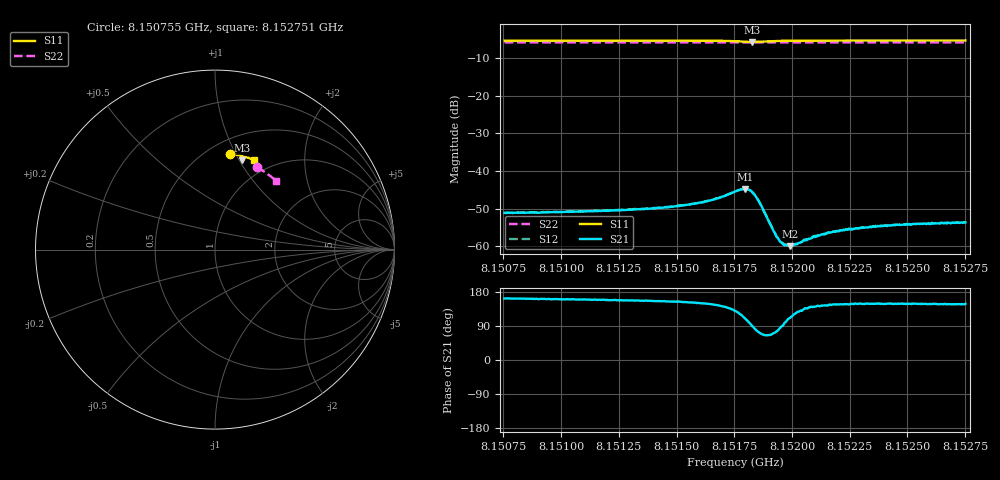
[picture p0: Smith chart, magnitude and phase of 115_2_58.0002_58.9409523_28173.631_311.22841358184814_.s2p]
#  HZ  S  RI  R  50.00
! Rohde & Schwarz Vector Network Analyzer
! Rohde-Schwarz,ZNB20-2Port,1311601062101988,3.16
! Created: UTC 3/21/2024, 12:55:22 AM
! freq[Hz]  re:S11  im:S11  re:S21  im:S21  re:S12  im:S12  re:S22  im:S22
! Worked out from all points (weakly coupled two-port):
!   401 points, 8.150755 GHz to 8.152751 GHz, reference 50 ohm
!   highest |S21| = -44.76 dB at 8.151798 GHz (marker M1); lowest = -60.0 dB at 8.151993 GHz (marker M2)
!   lowest |S11| = -5.7 dB at 8.151828 GHz (marker M3), VSWR 3.17, Z = 37.6 + j51.4 ohm
!   |S11| at or under -10 dB: nowhere
!   |S22| runs from -5.8 to -5.8 dB; largest |S21 - S12| = 0.00013
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8.1507551e9  0.0857 0.5353  -0.00264 0.000843  -0.00264 0.000895  0.235 0.458
8.1510894e9  0.1095 0.5315  -0.00272 0.00102  -0.00271 0.00105  0.2537 0.4475
8.1514237e9  0.1338 0.5262  -0.00294 0.00134  -0.00293 0.00138  0.2721 0.4358
8.1516083e9  0.1486 0.521  -0.0033 0.00192  -0.0033 0.00196  0.2819 0.4292
8.1516832e9  0.1553 0.517  -0.00353 0.00256  -0.0035 0.00266  0.2862 0.4264
8.151753e9  0.161 0.5087  -0.00342 0.00408  -0.00338 0.00413  0.2896 0.4235
8.1517979e9  0.1581 0.4999  -0.00191 0.00545  -0.00182 0.0055  0.2916 0.4216
8.1518129e9  0.1547 0.498  -0.000956 0.00554  -0.000896 0.00558  0.2922 0.4211
8.1518279e9  0.1507 0.4983  5.62e-05 0.0052  0.000121 0.00527  0.2929 0.4207
8.1518428e9  0.1475 0.5008  0.00081 0.00453  0.000857 0.00456  0.2934 0.4201
8.1518578e9  0.1458 0.5042  0.00115 0.00367  0.00121 0.00371  0.2943 0.4198
8.1519227e9  0.1512 0.5143  0.00049 0.00146  0.000497 0.00148  0.2977 0.4178
8.1519426e9  0.1537 0.5154  0.000194 0.00121  0.000178 0.00123  0.2987 0.4171
8.1519576e9  0.1555 0.5159  2.28e-06 0.0011  1.05e-06 0.0011  0.2997 0.4165
8.1519676e9  0.1567 0.5162  -0.000145 0.00103  -0.000143 0.00102  0.3002 0.4161
8.1519925e9  0.1596 0.5165  -0.000369 0.000929  -0.000399 0.000966  0.3014 0.4153
8.1520175e9  0.1622 0.5164  -0.000594 0.000892  -0.000598 0.000894  0.303 0.4141
8.1520873e9  0.1686 0.5158  -0.000999 0.000854  -0.00097 0.000856  0.3064 0.4115
8.1521671e9  0.1752 0.5142  -0.00124 0.000867  -0.00127 0.000883  0.3108 0.4082
8.152222e9  0.1794 0.5131  -0.00139 0.000906  -0.00136 0.000917  0.3135 0.4062
8.1524216e9  0.1939 0.5088  -0.00163 0.000985  -0.00161 0.00101  0.3233 0.3981
8.1527509e9  0.216 0.5004  -0.00175 0.00109  -0.00174 0.00114  0.3392 0.3839
